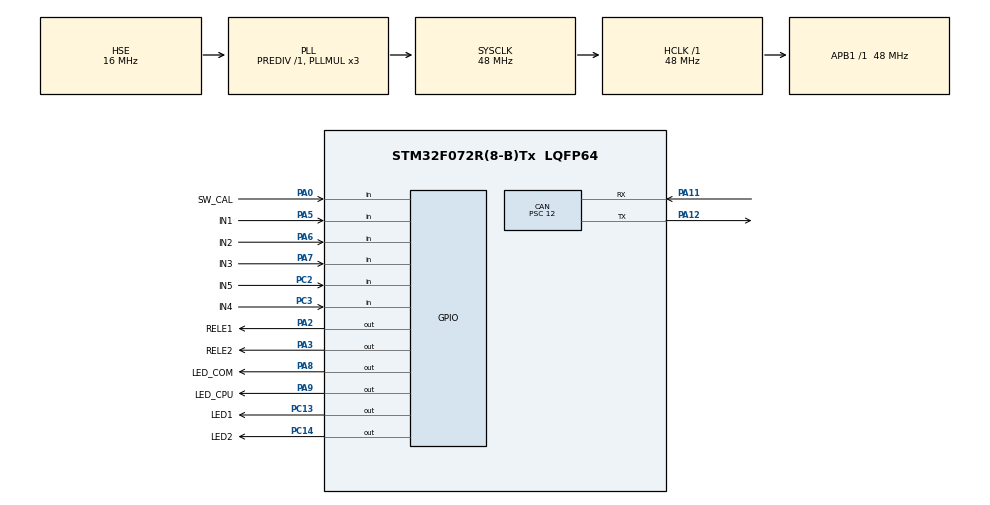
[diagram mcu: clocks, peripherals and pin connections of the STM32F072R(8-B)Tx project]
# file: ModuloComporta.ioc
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CAN.BS1=CAN_BS1_13TQ
CAN.BS2=CAN_BS2_2TQ
CAN.CalculateBaudRate=250000
CAN.CalculateTimeBit=4000
CAN.CalculateTimeQuantum=250.0
CAN.NART=ENABLE
CAN.Prescaler=12
IWDG.Prescaler=IWDG_PRESCALER_64
Mcu.Family=STM32F0
Mcu.Name=STM32F072R(8-B)Tx
Mcu.Package=LQFP64
NVIC.CEC_CAN_IRQn=true\:0\:0\:false\:false\:true\:true\:true\:true
NVIC.TIM3_IRQn=true\:0\:0\:false\:false\:true\:true\:true\:true
PA0.GPIO_Label=SW_CAL
PA0.GPIO_PuPd=GPIO_PULLUP
PA0.Signal=GPIO_Input
PA11.Mode=CAN_Activate
PA11.Signal=CAN_RX
PA12.Mode=CAN_Activate
PA12.Signal=CAN_TX
PA13.Mode=Serial_Wire
PA13.Signal=SYS_SWDIO
PA14.Mode=Serial_Wire
PA14.Signal=SYS_SWCLK
PA2.GPIO_Label=RELE1
PA2.Signal=GPIO_Output
PA3.GPIO_Label=RELE2
PA3.Signal=GPIO_Output
PA5.GPIO_Label=IN1
PA5.Signal=GPIO_Input
PA6.GPIO_Label=IN2
PA6.Signal=GPIO_Input
PA7.GPIO_Label=IN3
PA7.Signal=GPIO_Input
PA8.GPIO_Label=LED_COM
PA8.Signal=GPIO_Output
PA9.GPIO_Label=LED_CPU
PA9.Signal=GPIO_Output
PC13.GPIO_Label=LED1
PC13.Signal=GPIO_Output
PC14-OSC32_IN.GPIO_Label=LED2
PC14-OSC32_IN.Signal=GPIO_Output
PC2.GPIO_Label=IN5
PC2.Signal=GPIO_Input
PC3.GPIO_Label=IN4
PC3.Signal=GPIO_Input
PF0-OSC_IN.Mode=HSE-External-Oscillator
PF0-OSC_IN.Signal=RCC_OSC_IN
PF1-OSC_OUT.Mode=HSE-External-Oscillator
PF1-OSC_OUT.Signal=RCC_OSC_OUT
ProjectManager.HeapSize=0x200
ProjectManager.StackSize=0x400
ProjectManager.TargetToolchain=STM32CubeIDE
RCC.AHBFreq_Value=48000000
RCC.APB1Freq_Value=48000000
RCC.APB1TimFreq_Value=48000000
RCC.HCLKFreq_Value=48000000
RCC.HSE_VALUE=16000000
RCC.PLLMUL=RCC_PLL_MUL3
RCC.PLLSourceVirtual=RCC_PLLSOURCE_HSE
RCC.SYSCLKFreq_VALUE=48000000
RCC.SYSCLKSource=RCC_SYSCLKSOURCE_PLLCLK
TIM2.Prescaler=48-1
TIM3.Period=10-1
TIM3.Prescaler=480-1
VP_IWDG_VS_IWDG.Mode=IWDG_Activate
VP_TIM2_VS_ClockSourceINT.Mode=Internal
VP_TIM3_VS_ClockSourceINT.Mode=Internal
board=custom

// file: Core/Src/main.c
/* USER CODE BEGIN Header */
/**
  ******************************************************************************
  * @file           : main.c
  * @brief          : Main program body
  ******************************************************************************
  * @attention
  *
  * Copyright (c) 2025 STMicroelectronics.
  * All rights reserved.
  *
  * This software is licensed under terms that can be found in the LICENSE file
  * in the root directory of this software component.
  * If no LICENSE file comes with this software, it is provided AS-IS.
  *
  ******************************************************************************
  */
/* USER CODE END Header */
#include "main.h"

/* USER CODE BEGIN Includes */
#include "global.h"
/* USER CODE END Includes */

CAN_HandleTypeDef hcan;

IWDG_HandleTypeDef hiwdg;

TIM_HandleTypeDef htim2;
TIM_HandleTypeDef htim3;

/* USER CODE BEGIN PV */
CAN_TxHeaderTypeDef	canTxHeader;
CAN_RxHeaderTypeDef	canRxHeader;

uint8_t
	flagPacoteCAN = false,

	flagEntradaFimCursoAbrir = false,
	flagEntradaFimCursoFechar = false,

	flagLedCOM = false;

uint8_t
	sentidoMotor = MOTOR_DESLIGADO;

uint32_t
	canTxMailbox;

uint8_t
	canTxBuffer[8],
	canRxBuffer[8];
/* USER CODE END PV */

void SystemClock_Config(void);
static void MX_GPIO_Init(void);
static void MX_CAN_Init(void);
static void MX_IWDG_Init(void);
static void MX_TIM2_Init(void);
static void MX_TIM3_Init(void);

/* USER CODE BEGIN 0 */
void HAL_CAN_RxFifo0MsgPendingCallback(CAN_HandleTypeDef *hCan) {
	if(hCan == &hcan) {
		HAL_CAN_GetRxMessage(&hcan, CAN_RX_FIFO0, &canRxHeader, canRxBuffer);
		flagPacoteCAN = true;
	}
}

void HAL_TIM_PeriodElapsedCallback(TIM_HandleTypeDef *htim) {
	if(htim == &htim3) {
		schedulerEngine();
	}
}

void delayMicro(uint32_t tempo) {
	__HAL_TIM_SET_COUNTER(&htim2, 0);
	while(__HAL_TIM_GET_COUNTER(&htim2) < tempo) {
	}
}

void reiniciaWatchDog() {
	HAL_IWDG_Refresh(&hiwdg);
}
/* USER CODE END 0 */

int main(void)
{

  /* MCU Configuration--------------------------------------------------------*/

  /* Reset of all peripherals, Initializes the Flash interface and the Systick. */
  HAL_Init();

  /* Configure the system clock */
  SystemClock_Config();

  /* Initialize all configured peripherals */
  MX_GPIO_Init();
  MX_CAN_Init();
  MX_IWDG_Init();
  MX_TIM2_Init();
  MX_TIM3_Init();
  /* USER CODE BEGIN 2 */
  HAL_TIM_Base_Start(&htim2); //Timer do delay us
  HAL_TIM_Base_Start_IT(&htim3); //Timer do Scheduller

  HAL_CAN_Start(&hcan);
  HAL_CAN_ActivateNotification(&hcan, CAN_IT_RX_FIFO0_MSG_PENDING);
  //Alterações no CAN INIT
  /* USER CODE END 2 */

  /* Infinite loop */
  /* USER CODE BEGIN WHILE */
  while (1)
  {
	  entradasDigitais();
	  acionamentoMotor();
	  recebePacoteCAN();
    /* USER CODE END WHILE */

  }
}

void SystemClock_Config(void)
{
  RCC_OscInitTypeDef RCC_OscInitStruct = {0};
  RCC_ClkInitTypeDef RCC_ClkInitStruct = {0};

  /** Initializes the RCC Oscillators according to the specified parameters
  * in the RCC_OscInitTypeDef structure.
  */
  RCC_OscInitStruct.OscillatorType = RCC_OSCILLATORTYPE_LSI|RCC_OSCILLATORTYPE_HSE;
  RCC_OscInitStruct.HSEState = RCC_HSE_ON;
  RCC_OscInitStruct.LSIState = RCC_LSI_ON;
  RCC_OscInitStruct.PLL.PLLState = RCC_PLL_ON;
  RCC_OscInitStruct.PLL.PLLSource = RCC_PLLSOURCE_HSE;
  RCC_OscInitStruct.PLL.PLLMUL = RCC_PLL_MUL3;
  RCC_OscInitStruct.PLL.PREDIV = RCC_PREDIV_DIV1;
  if (HAL_RCC_OscConfig(&RCC_OscInitStruct) != HAL_OK)
  {
    Error_Handler();
  }

  /** Initializes the CPU, AHB and APB buses clocks
  */
  RCC_ClkInitStruct.ClockType = RCC_CLOCKTYPE_HCLK|RCC_CLOCKTYPE_SYSCLK
                              |RCC_CLOCKTYPE_PCLK1;
  RCC_ClkInitStruct.SYSCLKSource = RCC_SYSCLKSOURCE_PLLCLK;
  RCC_ClkInitStruct.AHBCLKDivider = RCC_SYSCLK_DIV1;
  RCC_ClkInitStruct.APB1CLKDivider = RCC_HCLK_DIV1;

  if (HAL_RCC_ClockConfig(&RCC_ClkInitStruct, FLASH_LATENCY_1) != HAL_OK)
  {
    Error_Handler();
  }
}

static void MX_CAN_Init(void)
{

  /* USER CODE BEGIN CAN_Init 0 */
	//calculo da configuração de velocidade
	//http://www.bittiming.can-wiki.info/
	//Selecionar ST e colocar a velocidade do clock (do APB1 ou do barramento correspondente a CAN)
	//gerar tabela e pegar os calores de prescaler, seg1 e seg2
	CAN_FilterTypeDef  sFilterConfig; //Inserido

	//hcan.Init.AutoRetransmission = ENABLE; --> Deve estar em ENABLE

  /* USER CODE END CAN_Init 0 */

  hcan.Instance = CAN;
  hcan.Init.Prescaler = 12;
  hcan.Init.Mode = CAN_MODE_NORMAL;
  hcan.Init.SyncJumpWidth = CAN_SJW_1TQ;
  hcan.Init.TimeSeg1 = CAN_BS1_13TQ;
  hcan.Init.TimeSeg2 = CAN_BS2_2TQ;
  hcan.Init.TimeTriggeredMode = DISABLE;
  hcan.Init.AutoBusOff = DISABLE;
  hcan.Init.AutoWakeUp = DISABLE;
  hcan.Init.AutoRetransmission = ENABLE;
  hcan.Init.ReceiveFifoLocked = DISABLE;
  hcan.Init.TransmitFifoPriority = DISABLE;
  if (HAL_CAN_Init(&hcan) != HAL_OK)
  {
    Error_Handler();
  }
  /* USER CODE BEGIN CAN_Init 2 */

  //Inserido abaixo

  sFilterConfig.FilterBank = 0;
  sFilterConfig.FilterMode = CAN_FILTERMODE_IDMASK;
  sFilterConfig.FilterScale = CAN_FILTERSCALE_32BIT;
  sFilterConfig.FilterIdHigh = 0x0000;
  sFilterConfig.FilterIdLow = 0x0000;
  sFilterConfig.FilterMaskIdHigh = 0x0000;
  sFilterConfig.FilterMaskIdLow = 0x0000;
  sFilterConfig.FilterFIFOAssignment = CAN_RX_FIFO0;
  sFilterConfig.FilterActivation = ENABLE;
  sFilterConfig.SlaveStartFilterBank = 14;

  if(HAL_CAN_ConfigFilter(&hcan, &sFilterConfig) != HAL_OK) {
	  Error_Handler();
  }

  if (HAL_CAN_Start(&hcan) != HAL_OK) {
	  Error_Handler();
  }

  /* USER CODE END CAN_Init 2 */

}

static void MX_IWDG_Init(void)
{

  hiwdg.Instance = IWDG;
  hiwdg.Init.Prescaler = IWDG_PRESCALER_64;
  hiwdg.Init.Window = 4095;
  hiwdg.Init.Reload = 4095;
  if (HAL_IWDG_Init(&hiwdg) != HAL_OK)
  {
    Error_Handler();
  }

}

static void MX_TIM2_Init(void)
{

  TIM_ClockConfigTypeDef sClockSourceConfig = {0};
  TIM_MasterConfigTypeDef sMasterConfig = {0};

  htim2.Instance = TIM2;
  htim2.Init.Prescaler = 48-1;
  htim2.Init.CounterMode = TIM_COUNTERMODE_UP;
  htim2.Init.Period = 4294967295;
  htim2.Init.ClockDivision = TIM_CLOCKDIVISION_DIV1;
  htim2.Init.AutoReloadPreload = TIM_AUTORELOAD_PRELOAD_DISABLE;
  if (HAL_TIM_Base_Init(&htim2) != HAL_OK)
  {
    Error_Handler();
  }
  sClockSourceConfig.ClockSource = TIM_CLOCKSOURCE_INTERNAL;
  if (HAL_TIM_ConfigClockSource(&htim2, &sClockSourceConfig) != HAL_OK)
  {
    Error_Handler();
  }
  sMasterConfig.MasterOutputTrigger = TIM_TRGO_RESET;
  sMasterConfig.MasterSlaveMode = TIM_MASTERSLAVEMODE_DISABLE;
  if (HAL_TIMEx_MasterConfigSynchronization(&htim2, &sMasterConfig) != HAL_OK)
  {
    Error_Handler();
  }

}

static void MX_TIM3_Init(void)
{

  TIM_ClockConfigTypeDef sClockSourceConfig = {0};
  TIM_MasterConfigTypeDef sMasterConfig = {0};

  htim3.Instance = TIM3;
  htim3.Init.Prescaler = 480-1;
  htim3.Init.CounterMode = TIM_COUNTERMODE_UP;
  htim3.Init.Period = 10-1;
  htim3.Init.ClockDivision = TIM_CLOCKDIVISION_DIV1;
  htim3.Init.AutoReloadPreload = TIM_AUTORELOAD_PRELOAD_DISABLE;
  if (HAL_TIM_Base_Init(&htim3) != HAL_OK)
  {
    Error_Handler();
  }
  sClockSourceConfig.ClockSource = TIM_CLOCKSOURCE_INTERNAL;
  if (HAL_TIM_ConfigClockSource(&htim3, &sClockSourceConfig) != HAL_OK)
  {
    Error_Handler();
  }
  sMasterConfig.MasterOutputTrigger = TIM_TRGO_RESET;
  sMasterConfig.MasterSlaveMode = TIM_MASTERSLAVEMODE_DISABLE;
  if (HAL_TIMEx_MasterConfigSynchronization(&htim3, &sMasterConfig) != HAL_OK)
  {
    Error_Handler();
  }

}

static void MX_GPIO_Init(void)
{
  GPIO_InitTypeDef GPIO_InitStruct = {0};

  /* GPIO Ports Clock Enable */
  __HAL_RCC_GPIOC_CLK_ENABLE();
  __HAL_RCC_GPIOF_CLK_ENABLE();
  __HAL_RCC_GPIOA_CLK_ENABLE();

  /*Configure GPIO pin Output Level */
  HAL_GPIO_WritePin(GPIOC, LED1_Pin|LED2_Pin, GPIO_PIN_RESET);

  /*Configure GPIO pin Output Level */
  HAL_GPIO_WritePin(GPIOA, RELE1_Pin|RELE2_Pin|LED_COM_Pin|LED_CPU_Pin, GPIO_PIN_RESET);

  /*Configure GPIO pins : LED1_Pin LED2_Pin */
  GPIO_InitStruct.Pin = LED1_Pin|LED2_Pin;
  GPIO_InitStruct.Mode = GPIO_MODE_OUTPUT_PP;
  GPIO_InitStruct.Pull = GPIO_NOPULL;
  GPIO_InitStruct.Speed = GPIO_SPEED_FREQ_LOW;
  HAL_GPIO_Init(GPIOC, &GPIO_InitStruct);

  /*Configure GPIO pins : IN5_Pin IN4_Pin */
  GPIO_InitStruct.Pin = IN5_Pin|IN4_Pin;
  GPIO_InitStruct.Mode = GPIO_MODE_INPUT;
  GPIO_InitStruct.Pull = GPIO_NOPULL;
  HAL_GPIO_Init(GPIOC, &GPIO_InitStruct);

  /*Configure GPIO pin : SW_CAL_Pin */
  GPIO_InitStruct.Pin = SW_CAL_Pin;
  GPIO_InitStruct.Mode = GPIO_MODE_INPUT;
  GPIO_InitStruct.Pull = GPIO_PULLUP;
  HAL_GPIO_Init(SW_CAL_GPIO_Port, &GPIO_InitStruct);

  /*Configure GPIO pins : RELE1_Pin RELE2_Pin LED_COM_Pin LED_CPU_Pin */
  GPIO_InitStruct.Pin = RELE1_Pin|RELE2_Pin|LED_COM_Pin|LED_CPU_Pin;
  GPIO_InitStruct.Mode = GPIO_MODE_OUTPUT_PP;
  GPIO_InitStruct.Pull = GPIO_NOPULL;
  GPIO_InitStruct.Speed = GPIO_SPEED_FREQ_LOW;
  HAL_GPIO_Init(GPIOA, &GPIO_InitStruct);

  /*Configure GPIO pins : IN1_Pin IN2_Pin IN3_Pin */
  GPIO_InitStruct.Pin = IN1_Pin|IN2_Pin|IN3_Pin;
  GPIO_InitStruct.Mode = GPIO_MODE_INPUT;
  GPIO_InitStruct.Pull = GPIO_NOPULL;
  HAL_GPIO_Init(GPIOA, &GPIO_InitStruct);

}

void Error_Handler(void)
{
  __disable_irq();
  while (1)
  {
  }
}
